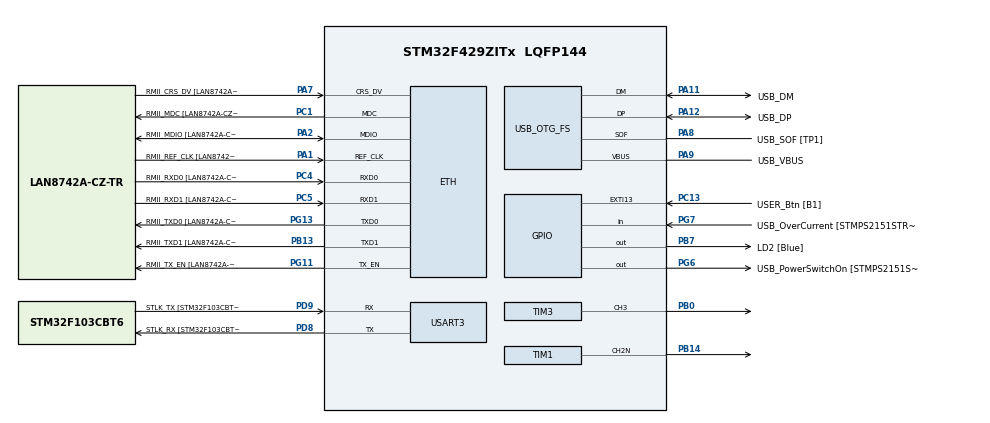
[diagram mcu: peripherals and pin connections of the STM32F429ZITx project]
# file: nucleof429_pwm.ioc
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ETH.MediaInterface=HAL_ETH_RMII_MODE
ETH.PHY_Name=LAN8742A_PHY_ADDRESS
ETH.PHY_Value=0
ETH.PhyAddress=0
Mcu.Family=STM32F4
Mcu.Name=STM32F429ZITx
Mcu.Package=LQFP144
NVIC.PriorityGroup=NVIC_PRIORITYGROUP_4
PA1.GPIO_Label=RMII_REF_CLK [LAN8742A-CZ-TR_REFCLK0]
PA1.Mode=RMII
PA1.Signal=ETH_REF_CLK
PA10.GPIO_Label=USB_ID
PA10.Signal=USB_OTG_FS_ID
PA11.GPIO_Label=USB_DM
PA11.Mode=Device_Only
PA11.Signal=USB_OTG_FS_DM
PA12.GPIO_Label=USB_DP
PA12.Mode=Device_Only
PA12.Signal=USB_OTG_FS_DP
PA13.GPIO_Label=TMS
PA13.Mode=Serial_Wire
PA13.Signal=SYS_JTMS-SWDIO
PA14.GPIO_Label=TCK
PA14.Mode=Serial_Wire
PA14.Signal=SYS_JTCK-SWCLK
PA2.GPIO_Label=RMII_MDIO [LAN8742A-CZ-TR_MDIO]
PA2.Mode=RMII
PA2.Signal=ETH_MDIO
PA7.GPIO_Label=RMII_CRS_DV [LAN8742A-CZ-TR_CRS_DV]
PA7.Mode=RMII
PA7.Signal=ETH_CRS_DV
PA8.GPIO_Label=USB_SOF [TP1]
PA8.Mode=Activate_SOF_FS
PA8.Signal=USB_OTG_FS_SOF
PA9.GPIO_Label=USB_VBUS
PA9.Mode=Activate_VBUS
PA9.Signal=USB_OTG_FS_VBUS
PB0.Signal=S_TIM3_CH3
PB13.GPIO_Label=RMII_TXD1 [LAN8742A-CZ-TR_TXD1]
PB13.Mode=RMII
PB13.Signal=ETH_TXD1
PB14.Mode=PWM Generation2 CH2N
PB14.Signal=TIM1_CH2N
PB7.GPIO_Label=LD2 [Blue]
PB7.Signal=GPIO_Output
PC1.GPIO_Label=RMII_MDC [LAN8742A-CZ-TR_MDC]
PC1.Mode=RMII
PC1.Signal=ETH_MDC
PC13.GPIO_Label=USER_Btn [B1]
PC13.Signal=GPXTI13
PC14/OSC32_IN.Mode=LSE-External-Oscillator
PC14/OSC32_IN.Signal=RCC_OSC32_IN
PC15/OSC32_OUT.Mode=LSE-External-Oscillator
PC15/OSC32_OUT.Signal=RCC_OSC32_OUT
PC4.GPIO_Label=RMII_RXD0 [LAN8742A-CZ-TR_RXD0]
PC4.Mode=RMII
PC4.Signal=ETH_RXD0
PC5.GPIO_Label=RMII_RXD1 [LAN8742A-CZ-TR_RXD1]
PC5.Mode=RMII
PC5.Signal=ETH_RXD1
PD8.GPIO_Label=STLK_RX [STM32F103CBT6_PA3]
PD8.Mode=Asynchronous
PD8.Signal=USART3_TX
PD9.GPIO_Label=STLK_TX [STM32F103CBT6_PA2]
PD9.Mode=Asynchronous
PD9.Signal=USART3_RX
PG11.GPIO_Label=RMII_TX_EN [LAN8742A-CZ-TR_TXEN]
PG11.Mode=RMII
PG11.Signal=ETH_TX_EN
PG13.GPIO_Label=RMII_TXD0 [LAN8742A-CZ-TR_TXD0]
PG13.Mode=RMII
PG13.Signal=ETH_TXD0
PG6.GPIO_Label=USB_PowerSwitchOn [STMPS2151STR_EN]
PG6.Signal=GPIO_Output
PG7.GPIO_Label=USB_OverCurrent [STMPS2151STR_FAULT]
PG7.Signal=GPIO_Input
PH0/OSC_IN.GPIO_Label=MCO [STM32F103CBT6_PA8]
PH0/OSC_IN.Mode=HSE-External-Clock-Source
PH0/OSC_IN.Signal=RCC_OSC_IN
PH1/OSC_OUT.Mode=HSE-External-Clock-Source
PH1/OSC_OUT.Signal=RCC_OSC_OUT
ProjectManager.HeapSize=0x200
ProjectManager.StackSize=0x400
ProjectManager.TargetToolchain=STM32CubeIDE
RCC.48MHZClocksFreq_Value=48000000
RCC.AHBFreq_Value=168000000
RCC.APB1CLKDivider=RCC_HCLK_DIV4
RCC.APB1Freq_Value=42000000
RCC.APB1TimFreq_Value=84000000
RCC.APB2CLKDivider=RCC_HCLK_DIV2
RCC.APB2Freq_Value=84000000
RCC.APB2TimCLKDivider=2
RCC.APB2TimFreq_Value=168000000
RCC.CortexFreq_Value=168000000
RCC.HCLKFreq_Value=168000000
RCC.HSE_VALUE=8000000
RCC.HSI_VALUE=16000000
RCC.PLLM=4
RCC.PLLMUL=RCC_PLL_MUL9
RCC.PLLN=168
RCC.PLLQ=7
RCC.PRESCALERUSB=RCC_USBCLKSOURCE_PLL_DIV1_5
RCC.SYSCLKFreq_VALUE=168000000
RCC.SYSCLKSource=RCC_SYSCLKSOURCE_PLLCLK
RCC.SYSCLKSourceVirtual=RCC_SYSCLKSOURCE_PLLCLK
RCC.USBFreq_Value=48000000
RCC.VCOOutputFreq_Value=336000000
SH.S_TIM3_CH3.0=TIM3_CH3,PWM Generation3 CH3
TIM1.Channel-PWM\ Generation2\ CH2N=TIM_CHANNEL_2
TIM1.OCNPolarity_2=TIM_OCNPOLARITY_LOW
TIM1.Period=499
TIM1.Prescaler=83
TIM1.TIM_MasterOutputTrigger=TIM_TRGO_RESET
TIM3.Channel-PWM\ Generation3\ CH3=TIM_CHANNEL_3
TIM3.Period=499
TIM3.Prescaler=83
USART3.VirtualMode=VM_ASYNC
USB_OTG_FS.VirtualMode=Device_Only
VP_TIM1_VS_ClockSourceINT.Mode=Internal
VP_TIM3_VS_ClockSourceINT.Mode=Internal
board=NUCLEO-F429ZI

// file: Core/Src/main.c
/* USER CODE BEGIN Header */
/**
  ******************************************************************************
  * @file           : main.c
  * @brief          : Main program body
  ******************************************************************************
  * @attention
  *
  * Copyright (c) 2023 STMicroelectronics.
  * All rights reserved.
  *
  * This software is licensed under terms that can be found in the LICENSE file
  * in the root directory of this software component.
  * If no LICENSE file comes with this software, it is provided AS-IS.
  *
  ******************************************************************************
  */
/* USER CODE END Header */
#include "main.h"
#include "eth.h"
#include "tim.h"
#include "usart.h"
#include "usb_otg.h"
#include "gpio.h"

/* USER CODE BEGIN PV */
uint16_t pwmVal = 0;
uint8_t dir = 1;
/* USER CODE END PV */

void SystemClock_Config(void);

int main(void)
{

  /* MCU Configuration--------------------------------------------------------*/

  /* Reset of all peripherals, Initializes the Flash interface and the Systick. */
  HAL_Init();

  /* Configure the system clock */
  SystemClock_Config();

  /* Initialize all configured peripherals */
  MX_GPIO_Init();
  MX_ETH_Init();
  MX_USART3_UART_Init();
  MX_USB_OTG_FS_PCD_Init();
  MX_TIM3_Init();
  MX_TIM1_Init();
  /* USER CODE BEGIN 2 */
  HAL_TIM_PWM_Start(&htim3, TIM_CHANNEL_3);
  HAL_TIMEx_PWMN_Start(&htim1, TIM_CHANNEL_2); /* use CH2N */
  /* USER CODE END 2 */

  /* Infinite loop */
  /* USER CODE BEGIN WHILE */
  pwmVal = 0;
  dir = 1;
  while (1)
  {
    /* USER CODE END WHILE */

    /* USER CODE BEGIN 3 */
	  if (dir == 1) {
		  pwmVal++;
		  if (pwmVal >= 499)
			  dir = 0;
	  }
	  else {
		  pwmVal--;
		  if (pwmVal == 0)
			  dir = 1;
	  }

	  // htim3.Instance->CCR3 = pwmVal; // eqaul __HAL_TIM_SetCompare(&htim3, TIM_CHANNEL_3, pwmVal);
	  __HAL_TIM_SetCompare(&htim3, TIM_CHANNEL_3, pwmVal);
	  htim1.Instance->CCR2 = pwmVal;
	  HAL_Delay(5);
  }
  /* USER CODE END 3 */
}

void SystemClock_Config(void)
{
  LL_FLASH_SetLatency(LL_FLASH_LATENCY_5);
  while(LL_FLASH_GetLatency()!= LL_FLASH_LATENCY_5)
  {
  }
  LL_PWR_SetRegulVoltageScaling(LL_PWR_REGU_VOLTAGE_SCALE1);
  LL_PWR_DisableOverDriveMode();
  LL_RCC_HSE_EnableBypass();
  LL_RCC_HSE_Enable();

   /* Wait till HSE is ready */
  while(LL_RCC_HSE_IsReady() != 1)
  {

  }
  LL_RCC_PLL_ConfigDomain_SYS(LL_RCC_PLLSOURCE_HSE, LL_RCC_PLLM_DIV_4, 168, LL_RCC_PLLP_DIV_2);
  LL_RCC_PLL_ConfigDomain_48M(LL_RCC_PLLSOURCE_HSE, LL_RCC_PLLM_DIV_4, 168, LL_RCC_PLLQ_DIV_7);
  LL_RCC_PLL_Enable();

   /* Wait till PLL is ready */
  while(LL_RCC_PLL_IsReady() != 1)
  {

  }
  while (LL_PWR_IsActiveFlag_VOS() == 0)
  {
  }
  LL_RCC_SetAHBPrescaler(LL_RCC_SYSCLK_DIV_1);
  LL_RCC_SetAPB1Prescaler(LL_RCC_APB1_DIV_4);
  LL_RCC_SetAPB2Prescaler(LL_RCC_APB2_DIV_2);
  LL_RCC_SetSysClkSource(LL_RCC_SYS_CLKSOURCE_PLL);

   /* Wait till System clock is ready */
  while(LL_RCC_GetSysClkSource() != LL_RCC_SYS_CLKSOURCE_STATUS_PLL)
  {

  }
  LL_SetSystemCoreClock(168000000);

   /* Update the time base */
  if (HAL_InitTick (TICK_INT_PRIORITY) != HAL_OK)
  {
    Error_Handler();
  }
  LL_RCC_SetTIMPrescaler(LL_RCC_TIM_PRESCALER_TWICE);
}

void Error_Handler(void)
{
  __disable_irq();
  while (1)
  {
  }
}
